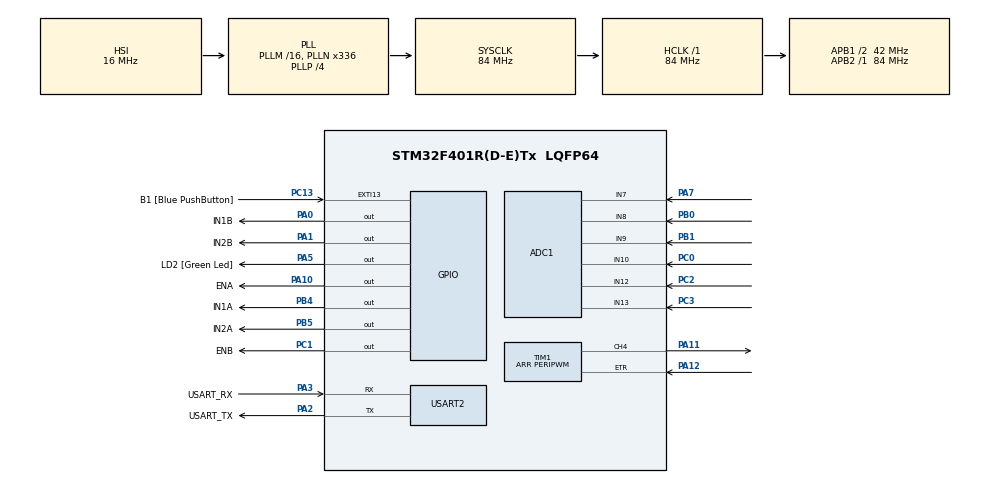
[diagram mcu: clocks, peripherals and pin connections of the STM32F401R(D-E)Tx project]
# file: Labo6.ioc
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ADC1.Channel-0\#ChannelRegularConversion=ADC_CHANNEL_9
ADC1.ContinuousConvMode=DISABLE
ADC1.DMAContinuousRequests=ENABLE
ADC1.EOCSelection=ADC_EOC_SEQ_CONV
ADC1.ExternalTrigConv=ADC_EXTERNALTRIGCONV_T1_CC3
ADC1.ExternalTrigConvEdge=ADC_EXTERNALTRIGCONVEDGE_RISINGFALLING
ADC1.NbrOfConversionFlag=1
ADC1.Rank-0\#ChannelRegularConversion=1
ADC1.SamplingTime-0\#ChannelRegularConversion=ADC_SAMPLETIME_3CYCLES
ADC1.ScanConvMode=ENABLE
ADC1.master=1
Dma.ADC1.0.Direction=DMA_PERIPH_TO_MEMORY
Dma.ADC1.0.FIFOMode=DMA_FIFOMODE_DISABLE
Dma.ADC1.0.Instance=DMA2_Stream0
Dma.ADC1.0.MemDataAlignment=DMA_MDATAALIGN_HALFWORD
Dma.ADC1.0.MemInc=DMA_MINC_ENABLE
Dma.ADC1.0.Mode=DMA_CIRCULAR
Dma.ADC1.0.PeriphDataAlignment=DMA_PDATAALIGN_HALFWORD
Dma.ADC1.0.PeriphInc=DMA_PINC_DISABLE
Dma.ADC1.0.Priority=DMA_PRIORITY_LOW
Dma.Request0=ADC1
Mcu.Family=STM32F4
Mcu.Name=STM32F401R(D-E)Tx
Mcu.Package=LQFP64
Mcu.UserConstants=PERIPWM,2100
NVIC.DMA2_Stream0_IRQn=true\:0\:0\:false\:false\:true\:false\:true\:true
NVIC.PriorityGroup=NVIC_PRIORITYGROUP_0
PA0-WKUP.GPIO_Label=IN1B
PA0-WKUP.Signal=GPIO_Output
PA1.GPIO_Label=IN2B
PA1.Signal=GPIO_Output
PA10.GPIO_Label=ENA
PA10.Signal=GPIO_Output
PA11.Signal=S_TIM1_CH4
PA12.Signal=S_TIM1_ETR
PA13.GPIO_Label=TMS
PA13.Mode=Serial_Wire
PA13.Signal=SYS_JTMS-SWDIO
PA14.GPIO_Label=TCK
PA14.Mode=Serial_Wire
PA14.Signal=SYS_JTCK-SWCLK
PA2.GPIO_Label=USART_TX
PA2.GPIO_Mode=GPIO_MODE_AF_PP
PA2.GPIO_PuPd=GPIO_NOPULL
PA2.GPIO_Speed=GPIO_SPEED_FREQ_LOW
PA2.Mode=Asynchronous
PA2.Signal=USART2_TX
PA3.GPIO_Label=USART_RX
PA3.GPIO_Mode=GPIO_MODE_AF_PP
PA3.GPIO_PuPd=GPIO_NOPULL
PA3.GPIO_Speed=GPIO_SPEED_FREQ_LOW
PA3.Mode=Asynchronous
PA3.Signal=USART2_RX
PA5.GPIO_Label=LD2 [Green Led]
PA5.GPIO_Mode=GPIO_MODE_OUTPUT_PP
PA5.GPIO_PuPd=GPIO_NOPULL
PA5.GPIO_Speed=GPIO_SPEED_FREQ_LOW
PA5.Signal=GPIO_Output
PA7.Signal=ADCx_IN7
PB0.Signal=ADCx_IN8
PB1.Signal=ADCx_IN9
PB13.Signal=TIM1_CH1N
PB14.Signal=TIM1_CH2N
PB4.GPIO_Label=IN1A
PB4.Signal=GPIO_Output
PB5.GPIO_Label=IN2A
PB5.Signal=GPIO_Output
PC0.Signal=ADCx_IN10
PC1.GPIO_Label=ENB
PC1.Signal=GPIO_Output
PC13-ANTI_TAMP.GPIO_Label=B1 [Blue PushButton]
PC13-ANTI_TAMP.GPIO_ModeDefaultEXTI=GPIO_MODE_IT_FALLING
PC13-ANTI_TAMP.GPIO_PuPd=GPIO_NOPULL
PC13-ANTI_TAMP.Signal=GPXTI13
PC14-OSC32_IN.Mode=LSE-External-Oscillator
PC14-OSC32_IN.Signal=RCC_OSC32_IN
PC15-OSC32_OUT.Mode=LSE-External-Oscillator
PC15-OSC32_OUT.Signal=RCC_OSC32_OUT
PC2.Signal=ADCx_IN12
PC3.Signal=ADCx_IN13
PH0\ -\ OSC_IN.Mode=HSE-External-Clock-Source
PH0\ -\ OSC_IN.Signal=RCC_OSC_IN
PH1\ -\ OSC_OUT.Mode=HSE-External-Clock-Source
PH1\ -\ OSC_OUT.Signal=RCC_OSC_OUT
ProjectManager.HeapSize=0x200
ProjectManager.StackSize=0x400
ProjectManager.TargetToolchain=STM32CubeIDE
RCC.48MHZClocksFreq_Value=48000000
RCC.AHBFreq_Value=84000000
RCC.APB1CLKDivider=RCC_HCLK_DIV2
RCC.APB1Freq_Value=42000000
RCC.APB1TimFreq_Value=84000000
RCC.APB2Freq_Value=84000000
RCC.APB2TimFreq_Value=84000000
RCC.CortexFreq_Value=84000000
RCC.HCLKFreq_Value=84000000
RCC.HSE_VALUE=8000000
RCC.HSI_VALUE=16000000
RCC.PLLN=336
RCC.PLLP=RCC_PLLP_DIV4
RCC.PLLQ=7
RCC.SYSCLKFreq_VALUE=84000000
RCC.SYSCLKSource=RCC_SYSCLKSOURCE_PLLCLK
RCC.VCOOutputFreq_Value=336000000
SH.ADCx_IN10.0=ADC1_IN10,IN10
SH.ADCx_IN12.0=ADC1_IN12,IN12
SH.ADCx_IN13.0=ADC1_IN13,IN13
SH.ADCx_IN7.0=ADC1_IN7,IN7
SH.ADCx_IN8.0=ADC1_IN8,IN8
SH.ADCx_IN9.0=ADC1_IN9,IN9
SH.S_TIM1_CH4.0=TIM1_CH4,PWM Generation4 CH4
SH.S_TIM1_ETR.0=TIM1_ETR,ETR-as-clearing-source
TIM1.AutomaticOutput=TIM_AUTOMATICOUTPUT_ENABLE
TIM1.Channel-Output\ Compare3\ No\ Output=TIM_CHANNEL_3
TIM1.Channel-PWM\ Generation4\ CH4=TIM_CHANNEL_4
TIM1.ClearChannel4=TIM_CHANNEL_4
TIM1.CounterMode=TIM_COUNTERMODE_CENTERALIGNED1
TIM1.OCMode_3=TIM_OCMODE_TOGGLE
TIM1.Period=PERIPWM
TIM3.CounterMode=TIM_COUNTERMODE_CENTERALIGNED1
TIM3.Period=PERIPWM
USART2.VirtualMode=VM_ASYNC
VP_TIM1_VS_ClockSourceINT.Mode=Internal
VP_TIM1_VS_no_output3.Mode=Output Compare3 No Output
VP_TIM3_VS_ClockSourceINT.Mode=Internal
board=NUCLEO-F401RE

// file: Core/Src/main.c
/* USER CODE BEGIN Header */
/**
  ******************************************************************************
  * @file           : main.c
  * @brief          : Main program body
  ******************************************************************************
  * @attention
  *
  * Copyright (c) 2023 STMicroelectronics.
  * All rights reserved.
  *
  * This software is licensed under terms that can be found in the LICENSE file
  * in the root directory of this software component.
  * If no LICENSE file comes with this software, it is provided AS-IS.
  *
  ******************************************************************************
  */
/* USER CODE END Header */
#include "main.h"

ADC_HandleTypeDef hadc1;
DMA_HandleTypeDef hdma_adc1;

TIM_HandleTypeDef htim1;
TIM_HandleTypeDef htim3;

UART_HandleTypeDef huart2;

/* USER CODE BEGIN PV */

uint8_t commutation_counter = 0;
uint16_t resultats[1];
uint8_t enableA[8] = {1,1,0,1,1,1,0,1};
uint8_t enableB[8] = {0,1,1,1,0,1,1,1};

uint8_t inA[8] = {1,1,0,0,0,0,0,1};
uint8_t inB[8] = {0,1,1,1,0,0,0,0};

uint8_t position = 0;
uint8_t sens = 1;

/* USER CODE END PV */

void SystemClock_Config(void);
static void MX_GPIO_Init(void);
static void MX_DMA_Init(void);
static void MX_USART2_UART_Init(void);
static void MX_ADC1_Init(void);
static void MX_TIM1_Init(void);
static void MX_TIM3_Init(void);

int main(void)
{

  /* MCU Configuration--------------------------------------------------------*/

  /* Reset of all peripherals, Initializes the Flash interface and the Systick. */
  HAL_Init();

  /* Configure the system clock */
  SystemClock_Config();

  /* Initialize all configured peripherals */
  MX_GPIO_Init();
  MX_DMA_Init();
  MX_USART2_UART_Init();
  MX_ADC1_Init();
  MX_TIM1_Init();
  MX_TIM3_Init();
  /* USER CODE BEGIN 2 */

  HAL_TIM_PWM_Start(&htim1, TIM_CHANNEL_4);
  HAL_TIM_PWM_Start(&htim3, TIM_CHANNEL_1);

  HAL_TIM_OC_Start(&htim1, TIM_CHANNEL_3);

  HAL_ADC_Start_DMA(&hadc1, (uint32_t*) resultats, 1);

  /* USER CODE END 2 */

  /* Infinite loop */
  while (1)
  {

  }
}

void SystemClock_Config(void)
{
  RCC_OscInitTypeDef RCC_OscInitStruct = {0};
  RCC_ClkInitTypeDef RCC_ClkInitStruct = {0};

  /** Configure the main internal regulator output voltage
  */
  __HAL_RCC_PWR_CLK_ENABLE();
  __HAL_PWR_VOLTAGESCALING_CONFIG(PWR_REGULATOR_VOLTAGE_SCALE2);

  /** Initializes the RCC Oscillators according to the specified parameters
  * in the RCC_OscInitTypeDef structure.
  */
  RCC_OscInitStruct.OscillatorType = RCC_OSCILLATORTYPE_HSI;
  RCC_OscInitStruct.HSIState = RCC_HSI_ON;
  RCC_OscInitStruct.HSICalibrationValue = RCC_HSICALIBRATION_DEFAULT;
  RCC_OscInitStruct.PLL.PLLState = RCC_PLL_ON;
  RCC_OscInitStruct.PLL.PLLSource = RCC_PLLSOURCE_HSI;
  RCC_OscInitStruct.PLL.PLLM = 16;
  RCC_OscInitStruct.PLL.PLLN = 336;
  RCC_OscInitStruct.PLL.PLLP = RCC_PLLP_DIV4;
  RCC_OscInitStruct.PLL.PLLQ = 7;
  if (HAL_RCC_OscConfig(&RCC_OscInitStruct) != HAL_OK)
  {
    Error_Handler();
  }

  /** Initializes the CPU, AHB and APB buses clocks
  */
  RCC_ClkInitStruct.ClockType = RCC_CLOCKTYPE_HCLK|RCC_CLOCKTYPE_SYSCLK
                              |RCC_CLOCKTYPE_PCLK1|RCC_CLOCKTYPE_PCLK2;
  RCC_ClkInitStruct.SYSCLKSource = RCC_SYSCLKSOURCE_PLLCLK;
  RCC_ClkInitStruct.AHBCLKDivider = RCC_SYSCLK_DIV1;
  RCC_ClkInitStruct.APB1CLKDivider = RCC_HCLK_DIV2;
  RCC_ClkInitStruct.APB2CLKDivider = RCC_HCLK_DIV1;

  if (HAL_RCC_ClockConfig(&RCC_ClkInitStruct, FLASH_LATENCY_2) != HAL_OK)
  {
    Error_Handler();
  }
}

static void MX_ADC1_Init(void)
{

  ADC_ChannelConfTypeDef sConfig = {0};

  /** Configure the global features of the ADC (Clock, Resolution, Data Alignment and number of conversion)
  */
  hadc1.Instance = ADC1;
  hadc1.Init.ClockPrescaler = ADC_CLOCK_SYNC_PCLK_DIV4;
  hadc1.Init.Resolution = ADC_RESOLUTION_12B;
  hadc1.Init.ScanConvMode = ENABLE;
  hadc1.Init.ContinuousConvMode = DISABLE;
  hadc1.Init.DiscontinuousConvMode = DISABLE;
  hadc1.Init.ExternalTrigConvEdge = ADC_EXTERNALTRIGCONVEDGE_RISINGFALLING;
  hadc1.Init.ExternalTrigConv = ADC_EXTERNALTRIGCONV_T1_CC3;
  hadc1.Init.DataAlign = ADC_DATAALIGN_RIGHT;
  hadc1.Init.NbrOfConversion = 1;
  hadc1.Init.DMAContinuousRequests = ENABLE;
  hadc1.Init.EOCSelection = ADC_EOC_SEQ_CONV;
  if (HAL_ADC_Init(&hadc1) != HAL_OK)
  {
    Error_Handler();
  }

  /** Configure for the selected ADC regular channel its corresponding rank in the sequencer and its sample time.
  */
  sConfig.Channel = ADC_CHANNEL_9;
  sConfig.Rank = 1;
  sConfig.SamplingTime = ADC_SAMPLETIME_3CYCLES;
  if (HAL_ADC_ConfigChannel(&hadc1, &sConfig) != HAL_OK)
  {
    Error_Handler();
  }

}

static void MX_TIM1_Init(void)
{

  TIM_ClockConfigTypeDef sClockSourceConfig = {0};
  TIM_MasterConfigTypeDef sMasterConfig = {0};
  TIM_OC_InitTypeDef sConfigOC = {0};
  TIM_ClearInputConfigTypeDef sClearInputConfig = {0};
  TIM_BreakDeadTimeConfigTypeDef sBreakDeadTimeConfig = {0};

  htim1.Instance = TIM1;
  htim1.Init.Prescaler = 0;
  htim1.Init.CounterMode = TIM_COUNTERMODE_CENTERALIGNED1;
  htim1.Init.Period = PERIPWM;
  htim1.Init.ClockDivision = TIM_CLOCKDIVISION_DIV1;
  htim1.Init.RepetitionCounter = 0;
  htim1.Init.AutoReloadPreload = TIM_AUTORELOAD_PRELOAD_DISABLE;
  if (HAL_TIM_Base_Init(&htim1) != HAL_OK)
  {
    Error_Handler();
  }
  sClockSourceConfig.ClockSource = TIM_CLOCKSOURCE_INTERNAL;
  if (HAL_TIM_ConfigClockSource(&htim1, &sClockSourceConfig) != HAL_OK)
  {
    Error_Handler();
  }
  if (HAL_TIM_OC_Init(&htim1) != HAL_OK)
  {
    Error_Handler();
  }
  if (HAL_TIM_PWM_Init(&htim1) != HAL_OK)
  {
    Error_Handler();
  }
  sMasterConfig.MasterOutputTrigger = TIM_TRGO_RESET;
  sMasterConfig.MasterSlaveMode = TIM_MASTERSLAVEMODE_DISABLE;
  if (HAL_TIMEx_MasterConfigSynchronization(&htim1, &sMasterConfig) != HAL_OK)
  {
    Error_Handler();
  }
  sConfigOC.OCMode = TIM_OCMODE_TOGGLE;
  sConfigOC.Pulse = 0;
  sConfigOC.OCPolarity = TIM_OCPOLARITY_HIGH;
  sConfigOC.OCNPolarity = TIM_OCNPOLARITY_HIGH;
  sConfigOC.OCFastMode = TIM_OCFAST_DISABLE;
  sConfigOC.OCIdleState = TIM_OCIDLESTATE_RESET;
  sConfigOC.OCNIdleState = TIM_OCNIDLESTATE_RESET;
  if (HAL_TIM_OC_ConfigChannel(&htim1, &sConfigOC, TIM_CHANNEL_3) != HAL_OK)
  {
    Error_Handler();
  }
  sConfigOC.OCMode = TIM_OCMODE_PWM1;
  if (HAL_TIM_PWM_ConfigChannel(&htim1, &sConfigOC, TIM_CHANNEL_4) != HAL_OK)
  {
    Error_Handler();
  }
  sClearInputConfig.ClearInputState = ENABLE;
  sClearInputConfig.ClearInputSource = TIM_CLEARINPUTSOURCE_ETR;
  sClearInputConfig.ClearInputPolarity = TIM_CLEARINPUTPOLARITY_NONINVERTED;
  sClearInputConfig.ClearInputPrescaler = TIM_CLEARINPUTPRESCALER_DIV1;
  sClearInputConfig.ClearInputFilter = 0;
  if (HAL_TIM_ConfigOCrefClear(&htim1, &sClearInputConfig, TIM_CHANNEL_4) != HAL_OK)
  {
    Error_Handler();
  }
  sBreakDeadTimeConfig.OffStateRunMode = TIM_OSSR_DISABLE;
  sBreakDeadTimeConfig.OffStateIDLEMode = TIM_OSSI_DISABLE;
  sBreakDeadTimeConfig.LockLevel = TIM_LOCKLEVEL_OFF;
  sBreakDeadTimeConfig.DeadTime = 0;
  sBreakDeadTimeConfig.BreakState = TIM_BREAK_DISABLE;
  sBreakDeadTimeConfig.BreakPolarity = TIM_BREAKPOLARITY_HIGH;
  sBreakDeadTimeConfig.AutomaticOutput = TIM_AUTOMATICOUTPUT_ENABLE;
  if (HAL_TIMEx_ConfigBreakDeadTime(&htim1, &sBreakDeadTimeConfig) != HAL_OK)
  {
    Error_Handler();
  }
  HAL_TIM_MspPostInit(&htim1);

}

static void MX_TIM3_Init(void)
{

  TIM_ClockConfigTypeDef sClockSourceConfig = {0};
  TIM_MasterConfigTypeDef sMasterConfig = {0};

  htim3.Instance = TIM3;
  htim3.Init.Prescaler = 0;
  htim3.Init.CounterMode = TIM_COUNTERMODE_CENTERALIGNED1;
  htim3.Init.Period = PERIPWM;
  htim3.Init.ClockDivision = TIM_CLOCKDIVISION_DIV1;
  htim3.Init.AutoReloadPreload = TIM_AUTORELOAD_PRELOAD_DISABLE;
  if (HAL_TIM_Base_Init(&htim3) != HAL_OK)
  {
    Error_Handler();
  }
  sClockSourceConfig.ClockSource = TIM_CLOCKSOURCE_INTERNAL;
  if (HAL_TIM_ConfigClockSource(&htim3, &sClockSourceConfig) != HAL_OK)
  {
    Error_Handler();
  }
  sMasterConfig.MasterOutputTrigger = TIM_TRGO_RESET;
  sMasterConfig.MasterSlaveMode = TIM_MASTERSLAVEMODE_DISABLE;
  if (HAL_TIMEx_MasterConfigSynchronization(&htim3, &sMasterConfig) != HAL_OK)
  {
    Error_Handler();
  }

}

static void MX_USART2_UART_Init(void)
{

  huart2.Instance = USART2;
  huart2.Init.BaudRate = 115200;
  huart2.Init.WordLength = UART_WORDLENGTH_8B;
  huart2.Init.StopBits = UART_STOPBITS_1;
  huart2.Init.Parity = UART_PARITY_NONE;
  huart2.Init.Mode = UART_MODE_TX_RX;
  huart2.Init.HwFlowCtl = UART_HWCONTROL_NONE;
  huart2.Init.OverSampling = UART_OVERSAMPLING_16;
  if (HAL_UART_Init(&huart2) != HAL_OK)
  {
    Error_Handler();
  }

}

static void MX_DMA_Init(void)
{

  /* DMA controller clock enable */
  __HAL_RCC_DMA2_CLK_ENABLE();

  /* DMA interrupt init */
  /* DMA2_Stream0_IRQn interrupt configuration */
  HAL_NVIC_SetPriority(DMA2_Stream0_IRQn, 0, 0);
  HAL_NVIC_EnableIRQ(DMA2_Stream0_IRQn);

}

static void MX_GPIO_Init(void)
{
  GPIO_InitTypeDef GPIO_InitStruct = {0};

  /* GPIO Ports Clock Enable */
  __HAL_RCC_GPIOC_CLK_ENABLE();
  __HAL_RCC_GPIOH_CLK_ENABLE();
  __HAL_RCC_GPIOA_CLK_ENABLE();
  __HAL_RCC_GPIOB_CLK_ENABLE();

  /*Configure GPIO pin Output Level */
  HAL_GPIO_WritePin(ENB_GPIO_Port, ENB_Pin, GPIO_PIN_RESET);

  /*Configure GPIO pin Output Level */
  HAL_GPIO_WritePin(GPIOA, IN1B_Pin|IN2B_Pin|LD2_Pin|ENA_Pin, GPIO_PIN_RESET);

  /*Configure GPIO pin Output Level */
  HAL_GPIO_WritePin(GPIOB, IN1A_Pin|IN2A_Pin, GPIO_PIN_RESET);

  /*Configure GPIO pin : B1_Pin */
  GPIO_InitStruct.Pin = B1_Pin;
  GPIO_InitStruct.Mode = GPIO_MODE_IT_FALLING;
  GPIO_InitStruct.Pull = GPIO_NOPULL;
  HAL_GPIO_Init(B1_GPIO_Port, &GPIO_InitStruct);

  /*Configure GPIO pin : ENB_Pin */
  GPIO_InitStruct.Pin = ENB_Pin;
  GPIO_InitStruct.Mode = GPIO_MODE_OUTPUT_PP;
  GPIO_InitStruct.Pull = GPIO_NOPULL;
  GPIO_InitStruct.Speed = GPIO_SPEED_FREQ_LOW;
  HAL_GPIO_Init(ENB_GPIO_Port, &GPIO_InitStruct);

  /*Configure GPIO pins : IN1B_Pin IN2B_Pin LD2_Pin ENA_Pin */
  GPIO_InitStruct.Pin = IN1B_Pin|IN2B_Pin|LD2_Pin|ENA_Pin;
  GPIO_InitStruct.Mode = GPIO_MODE_OUTPUT_PP;
  GPIO_InitStruct.Pull = GPIO_NOPULL;
  GPIO_InitStruct.Speed = GPIO_SPEED_FREQ_LOW;
  HAL_GPIO_Init(GPIOA, &GPIO_InitStruct);

  /*Configure GPIO pins : IN1A_Pin IN2A_Pin */
  GPIO_InitStruct.Pin = IN1A_Pin|IN2A_Pin;
  GPIO_InitStruct.Mode = GPIO_MODE_OUTPUT_PP;
  GPIO_InitStruct.Pull = GPIO_NOPULL;
  GPIO_InitStruct.Speed = GPIO_SPEED_FREQ_LOW;
  HAL_GPIO_Init(GPIOB, &GPIO_InitStruct);

}

/* USER CODE BEGIN 4 */

void HAL_ADC_ConvCpltCallback(ADC_HandleTypeDef* AdcHandle){
	static uint16_t counter = 0;
	counter++;
	if (counter == 10000){
		counter = 0;
		HAL_GPIO_TogglePin(LD2_GPIO_Port, LD2_Pin);
	}

	commutation_counter++;
	if (commutation_counter == 25){
		commutation_counter = 0;

		// Code for the commutation here

		position += sens;

		HAL_GPIO_WritePin(ENA_GPIO_Port, ENA_Pin, enableA[position % 8]);
		HAL_GPIO_WritePin(ENB_GPIO_Port, ENB_Pin, enableB[position % 8]);

		HAL_GPIO_WritePin(IN1A_GPIO_Port, IN1A_Pin, inA[position % 8]);
		HAL_GPIO_WritePin(IN2A_GPIO_Port, IN2A_Pin, 1-inA[position % 8]);

		HAL_GPIO_WritePin(IN1B_GPIO_Port, IN1B_Pin, inB[position % 8]);
		HAL_GPIO_WritePin(IN2B_GPIO_Port, IN2B_Pin, 1-inB[position % 8]);
		/*

		// TEST
		HAL_GPIO_WritePin(ENA_GPIO_Port, ENA_Pin, 0);
		HAL_GPIO_WritePin(IN1A_GPIO_Port, IN1A_Pin, 1);
		HAL_GPIO_WritePin(IN2A_GPIO_Port, IN2A_Pin, 0);
*/

	}
	if (position == 100){
		sens = -1;
	}

	if (position == 0){
		sens = +1;
	}

}
/* USER CODE END 4 */

void Error_Handler(void)
{
  __disable_irq();
  while (1)
  {
  }
}
